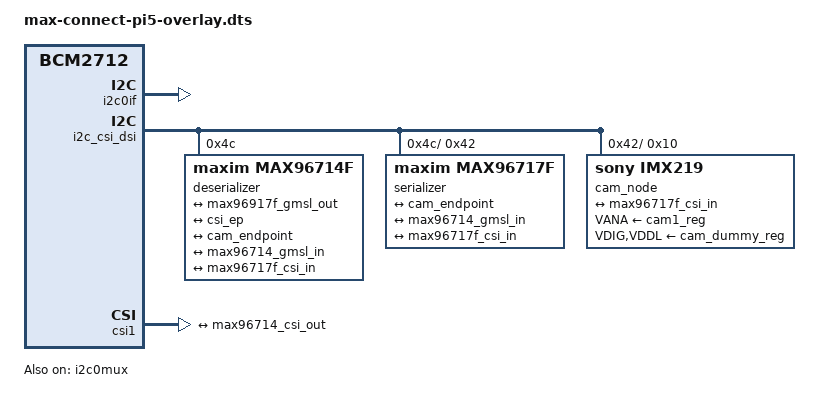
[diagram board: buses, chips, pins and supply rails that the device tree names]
/dts-v1/;
/plugin/;

/{
	compatible = "brcm,bcm2712";

	fragment@0 {
		target = <&i2c0if>;
		__overlay__ {
			status = "okay";
		};
	};

	clk_frag: fragment@1 {
		target = <&cam1_clk>;
		__overlay__ {
			status = "okay";
			clock-frequency = <24000000>;
		};
	};

	fragment@2 {
		target = <&i2c0mux>;
		__overlay__ {
			status = "okay";
		};
	};
	
	i2c_frag: fragment@100 {
		target = <&i2c_csi_dsi>;
		__overlay__ {
			#address-cells = <1>;
			#size-cells = <0>;
			status = "okay";
			deserializer: max96714f@4C {
				status = "okay";
				compatible = "maxim,max96714f";
				reg = <0x4C>;
				ports {
					#address-cells = <1>;
					#size-cells = <0>;
					
					port@0 {
						reg = <0>;
						max96714_gmsl_in: endpoint {
							data-lanes = <1 2>;
							remote-endpoint = <&max96917f_gmsl_out>;
						};
					};
					
					port@1 {
						reg = <1>;
						max96714_csi_out: endpoint {
							data-lanes = <1 2>;
							lane-polarities = <1 1 1>;
							link-frequencies = /bits/ 64 <400000000>;
							remote-endpoint = <&csi_ep>;
						};
					};
				};

				i2c-gate {
					#address-cells = <1>;
					#size-cells = <0>;
					status = "okay";
					serializer: serializer@42 {
						status = "okay";
						compatible = "maxim,max96717f";
						reg = <0x42>;
						gpio-controller;
						#gpio-cells = <2>;
						#clock-cells = <0>;
						ports {
							#address-cells = <1>;
							#size-cells = <0>;
							
							port@0 {
								reg = <0>;
								max96717f_csi_in: endpoint {
									data-lanes = <1 2>;
									remote-endpoint = <&cam_endpoint>;
								};
							};
							
							port@1 {
								reg = <1>;
								max96917f_gmsl_out: endpoint {
									remote-endpoint = <&max96714_gmsl_in>;
								};
							};
						};
						
						i2c-gate {
							#address-cells = <1>;
							#size-cells = <0>;
							status = "okay";
							
							cam_node: imx219@10 {
								compatible = "sony,imx219";
								reg = <0x10>;
								status = "okay";

								clocks = <&cam1_clk>;
								clock-names = "xclk";

								VANA-supply = <&cam1_reg>;	/* 2.8v */
								VDIG-supply = <&cam_dummy_reg>;	/* 1.8v */
								VDDL-supply = <&cam_dummy_reg>;	/* 1.2v */

								rotation = <180>;
								orientation = <2>;	
								
								reset = <&serializer 0 1>;
								
								port {
									cam_endpoint: endpoint {
										clock-lanes = <0>;
										data-lanes = <1 2>;
										clock-noncontinuous;
										link-frequencies =
											/bits/ 64 <456000000>;
									};
								};
							};
							
							vcm: ad5398@c {
							compatible = "adi,ad5398";
							reg = <0x0c>;
							status = "disabled";
							VANA-supply = <&cam1_reg>;
						};
						};
					};
				};
			};
		};
	};

	csi_frag: fragment@101 {
		target = <&csi1>;
		csi: __overlay__ {
			status = "okay";
			brcm,media-controller;
			
			port {
				csi_ep: endpoint {
					remote-endpoint = <&max96714_csi_out>;
					clock-lanes = <0>;
					data-lanes = <1 2>;
					clock-noncontinuous;
				};
			};
		};
	};

	fragment@102 {
		target = <&csi1>;
		__dormant__ {
			compatible = "brcm,bcm2835-unicam-legacy";
		};
	};

	__overrides__ {
		rotation = <&cam_node>,"rotation:0";
		orientation = <&cam_node>,"orientation:0";
		media-controller = <0>,"!102";
		cam0 = <&i2c_frag>, "target:0=",<&i2c_csi_dsi0>,
		       <&csi_frag>, "target:0=",<&csi0>,
		       <&clk_frag>, "target:0=",<&cam0_clk>,
		       <&cam_node>, "clocks:0=",<&cam0_clk>,
		       <&cam_node>, "VANA-supply:0=",<&cam0_reg>,
		       <&vcm>, "VANA-supply:0=", <&cam0_reg>;
		vcm = <&vcm>, "status=okay",
		      <&cam_node>,"lens-focus:0=", <&vcm>;
	};
};

&cam_node {
	status = "okay";
};

&cam_endpoint {
	remote-endpoint = <&max96717f_csi_in>;
};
